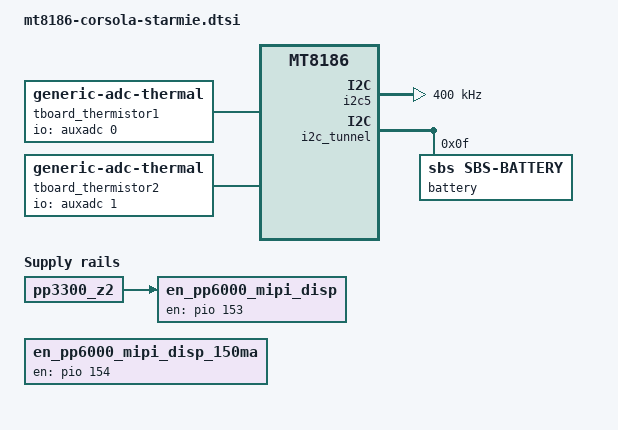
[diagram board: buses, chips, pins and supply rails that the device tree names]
// SPDX-License-Identifier: (GPL-2.0 OR MIT)
/*
 * Copyright 2023 Google LLC
 */

/dts-v1/;
#include "mt8186-corsola.dtsi"

/ {
	en_pp6000_mipi_disp_150ma: en-pp6000-mipi-disp-150ma {
		compatible = "regulator-fixed";
		regulator-name = "en_pp6000_mipi_disp_150ma";
		gpio = <&pio 154 GPIO_ACTIVE_HIGH>;
		enable-active-high;
		pinctrl-names = "default";
		pinctrl-0 = <&en_pp6000_mipi_disp_150ma_fixed_pins>;
	};

	/*
	 * Starmie does not have 3.3V display regulator. It is replaced
	 * with 6V module for enabling panel, re-using eDP GPIOs.
	 */
	/delete-node/ pp3300_disp_x;
	en_pp6000_mipi_disp: en-regulator-pp6000-mipi-disp {
		compatible = "regulator-fixed";
		pinctrl-names = "default";
		pinctrl-0 = <&edp_panel_fixed_pins>;
		gpios = <&pio 153 GPIO_ACTIVE_HIGH>;
		regulator-name = "en_pp6000_mipi_disp";
		enable-active-high;
		regulator-enable-ramp-delay = <3000>;
		vin-supply = <&pp3300_z2>;
	};

	tboard_thermistor1: thermal-sensor1 {
		compatible = "generic-adc-thermal";
		#thermal-sensor-cells = <0>;
		io-channels = <&auxadc 0>;
		io-channel-names = "sensor-channel";
		temperature-lookup-table = <    (-5000) 1492
						0 1413
						5000 1324
						10000 1227
						15000 1121
						20000 1017
						25000 900
						30000 797
						35000 698
						40000 606
						45000 522
						50000 449
						55000 383
						60000 327
						65000 278
						70000 236
						75000 201
						80000 171
						85000 145
						90000 163
						95000 124
						100000 91
						105000 78
						110000 67
						115000 58
						120000 50
						125000 44>;
	};

	tboard_thermistor2: thermal-sensor2 {
		compatible = "generic-adc-thermal";
		#thermal-sensor-cells = <0>;
		io-channels = <&auxadc 1>;
		io-channel-names = "sensor-channel";
		temperature-lookup-table = <    (-5000) 1492
						0 1413
						5000 1324
						10000 1227
						15000 1121
						20000 1017
						25000 900
						30000 797
						35000 698
						40000 606
						45000 522
						50000 449
						55000 383
						60000 327
						65000 278
						70000 236
						75000 201
						80000 171
						85000 145
						90000 163
						95000 124
						100000 91
						105000 78
						110000 67
						115000 58
						120000 50
						125000 44>;
	};
};

/*
 * Starmie does not have EC keyboard. Remove default keyboard controller
 * and replace it with the driver for side switches.
 */
/delete-node/ &keyboard_controller;

&cros_ec {
	cbas: cbas {
		compatible = "google,cros-cbas";
	};

	keyboard-controller {
		compatible = "google,cros-ec-keyb-switches";
	};
};

&dsi0 {
	#address-cells = <1>;
	#size-cells = <0>;
	panel: panel@0 {
		/* compatible will be set in board dts */
		reg = <0>;
		enable-gpios = <&pio 98 0>;
		pinctrl-names = "default";
		pinctrl-0 = <&panel_default_pins>;
		avdd-supply = <&en_pp6000_mipi_disp>;
		avee-supply = <&en_pp6000_mipi_disp_150ma>;
		pp1800-supply = <&mt6366_vio18_reg>;
		backlight = <&backlight_lcd0>;
		rotation = <270>;
		port {
			panel_in: endpoint {
				remote-endpoint = <&dsi_out>;
			};
		};
	};
};

&dsi_out {
	remote-endpoint = <&panel_in>;
};

&i2c0 {
	status = "disabled";
};

&i2c2 {
	status = "disabled";
};

&i2c4 {
	status = "disabled";
};

&i2c5 {
	clock-frequency = <400000>;
};

&mmc1_pins_default {
	pins-clk {
		drive-strength = <8>;
	};

	pins-cmd-dat {
		drive-strength = <8>;
	};
};

&mmc1_pins_uhs {
	pins-clk {
		drive-strength = <8>;
	};

	pins-cmd-dat {
		drive-strength = <8>;
	};
};

&pen_insert {
	wakeup-event-action = <EV_ACT_ANY>;
};

&pio {
	/* 185 lines */
	gpio-line-names = "TP",
			  "TP",
			  "TP",
			  "I2S0_HP_DI",
			  "I2S3_DP_SPKR_DO",
			  "SAR_INT_ODL",
			  "BT_WAKE_AP_ODL",
			  "WIFI_INT_ODL",
			  "DPBRDG_INT_ODL",
			  "NC",
			  "EC_AP_HPD_OD",
			  "NC",
			  "TCHSCR_INT_1V8_ODL",
			  "EC_AP_INT_ODL",
			  "EC_IN_RW_ODL",
			  "GSC_AP_INT_ODL",
			  /*
			   * AP_FLASH_WP_L is crossystem ABI. Rev1 schematics
			   * call it AP_WP_ODL.
			   */
			  "AP_FLASH_WP_L",
			  "HP_INT_ODL",
			  "PEN_EJECT_OD",
			  "NC",
			  "NC",
			  "UCAM_SEN_EN",
			  "NC",
			  "NC",
			  "NC",
			  "I2S2_DP_SPK_MCK",
			  "I2S2_DP_SPKR_BCK",
			  "I2S2_DP_SPKR_LRCK",
			  "NC",
			  "NC",
			  "NC",
			  "NC",
			  "UART_GSC_TX_AP_RX",
			  "UART_AP_TX_GSC_RX",
			  "UART_DBGCON_TX_ADSP_RX",
			  "UART_ADSP_TX_DBGCON_RX",
			  "NC",
			  "TCHSCR_REPORT_DISABLE",
			  "NC",
			  "EN_PP1800_DPBRDG",
			  "SPI_AP_CLK_EC",
			  "SPI_AP_CS_EC_L",
			  "SPI_AP_DO_EC_DI",
			  "SPI_AP_DI_EC_DO",
			  "SPI_AP_CLK_GSC",
			  "SPI_AP_CS_GSC_L",
			  "SPI_AP_DO_GSC_DI",
			  "SPI_AP_DI_GSC_DO",
			  "UART_DBGCON_TX_SCP_RX",
			  "UART_SCP_TX_DBGCON_RX",
			  "EN_PP1200_CAM_X",
			  "WLAN_MODULE_RST_L",
			  "NC",
			  "NC",
			  "NC",
			  "NC",
			  "I2S1_HP_DO",
			  "I2S1_HP_BCK",
			  "I2S1_HP_LRCK",
			  "I2S1_HP_MCK",
			  "TCHSCR_RST_1V8_L",
			  "SPI_AP_CLK_ROM",
			  "SPI_AP_CS_ROM_L",
			  "SPI_AP_DO_ROM_DI",
			  "SPI_AP_DI_ROM_DO",
			  "NC",
			  "NC",
			  "EMMC_STRB",
			  "EMMC_CLK",
			  "EMMC_CMD",
			  "EMMC_RST_L",
			  "EMMC_DATA0",
			  "EMMC_DATA1",
			  "EMMC_DATA2",
			  "EMMC_DATA3",
			  "EMMC_DATA4",
			  "EMMC_DATA5",
			  "EMMC_DATA6",
			  "EMMC_DATA7",
			  "AP_KPCOL0",
			  "NC",
			  "NC",
			  "NC",
			  "TP",
			  "SDIO_CLK",
			  "SDIO_CMD",
			  "SDIO_DATA0",
			  "SDIO_DATA1",
			  "SDIO_DATA2",
			  "SDIO_DATA3",
			  "NC",
			  "NC",
			  "NC",
			  "NC",
			  "NC",
			  "NC",
			  "NC",
			  "MIPI_BL_PWM_1V8",
			  "DISP_RST_1V8_L",
			  "MIPI_DPI_CLK",
			  "MIPI_DPI_VSYNC",
			  "MIPI_DPI_HSYNC",
			  "MIPI_DPI_DE",
			  "MIPI_DPI_D0",
			  "MIPI_DPI_D1",
			  "MIPI_DPI_D2",
			  "MIPI_DPI_D3",
			  "MIPI_DPI_D4",
			  "MIPI_DPI_D5",
			  "MIPI_DPI_D6",
			  "MIPI_DPI_DA7",
			  "MIPI_DPI_D8",
			  "MIPI_DPI_D9",
			  "MIPI_DPI_D10",
			  "MIPI_DPI_D11",
			  "PCM_BT_CLK",
			  "PCM_BT_SYNC",
			  "PCM_BT_DI",
			  "PCM_BT_DO",
			  "JTAG_TMS_TP",
			  "JTAG_TCK_TP",
			  "JTAG_TDI_TP",
			  "JTAG_TDO_TP",
			  "JTAG_TRSTN_TP",
			  "NC",
			  "NC",
			  "UCAM_DET_ODL",
			  "NC",
			  "NC",
			  "AP_I2C_TCHSCR_SCL_1V8",
			  "AP_I2C_TCHSCR_SDA_1V8",
			  "NC",
			  "NC",
			  "AP_I2C_DPBRDG_SCL_1V8",
			  "AP_I2C_DPBRDG_SDA_1V8",
			  "NC",
			  "NC",
			  "AP_I2C_AUD_SCL_1V8",
			  "AP_I2C_AUD_SDA_1V8",
			  "AP_I2C_DISP_SCL_1V8",
			  "AP_I2C_DISP_SDA_1V8",
			  "NC",
			  "NC",
			  "NC",
			  "NC",
			  "SCP_I2C_SENSOR_SCL_1V8",
			  "SCP_I2C_SENSOR_SDA_1V8",
			  "AP_EC_WARM_RST_REQ",
			  "AP_XHCI_INIT_DONE",
			  "USB3_HUB_RST_L",
			  "EN_SPKR",
			  "BEEP_ON",
			  "AP_DISP_BKLTEN",
			  "EN_PP6000_MIPI_DISP",
			  "EN_PP6000_MIPI_DISP_150MA",
			  "BT_KILL_1V8_L",
			  "WIFI_KILL_1V8_L",
			  "PWRAP_SPI0_CSN",
			  "PWRAP_SPI0_CK",
			  "PWRAP_SPI0_MO",
			  "PWRAP_SPI0_MI",
			  "SRCLKENA0",
			  "SRCLKENA1",
			  "SCP_VREQ_VAO",
			  "AP_RTC_CLK32K",
			  "AP_PMIC_WDTRST_L",
			  "AUD_CLK_MOSI",
			  "AUD_SYNC_MOSI",
			  "AUD_DAT_MOSI0",
			  "AUD_DAT_MOSI1",
			  "AUD_CLK_MISO",
			  "AUD_SYNC_MISO",
			  "AUD_DAT_MISO0",
			  "AUD_DAT_MISO1",
			  "NC",
			  "NC",
			  "NC",
			  "DPBRDG_RST_L",
			  "LTE_W_DISABLE_L",
			  "LTE_SAR_DETECT_L",
			  "EN_PP3300_LTE_X",
			  "LTE_PWR_OFF_L",
			  "LTE_RESET_L",
			  "TP",
			  "TP";

	en_pp6000_mipi_disp_150ma_fixed_pins: en_pp6000-mipi-disp-150ma-fixed-pins {
		pins-en {
			pinmux = <PINMUX_GPIO154__FUNC_GPIO154>;
			output-low;
		};
	};

	panel_default_pins: panel-default-pins {
		pins-en {
			pinmux = <PINMUX_GPIO98__FUNC_GPIO98>;
			output-low;
		};
	};
};

&usb_c1 {
	status = "disabled";
};

&thermal_zones {
	tboard1-thermal {
		polling-delay = <1000>; /* milliseconds */
		polling-delay-passive = <0>; /* milliseconds */
		thermal-sensors = <&tboard_thermistor1>;
	};

	tboard2-thermal {
		polling-delay = <1000>; /* milliseconds */
		polling-delay-passive = <0>; /* milliseconds */
		thermal-sensors = <&tboard_thermistor2>;
	};
};

&wifi_pwrseq {
	reset-gpios = <&pio 51 1>;
};

/*
 * Battery on Starmie is using a different address than default.
 * Remove old node to reuse "battery" alias.
 */
/delete-node/ &battery;
&i2c_tunnel {
	battery: sbs-battery@f {
		compatible = "sbs,sbs-battery";
		reg = <0xf>;
		sbs,i2c-retry-count = <2>;
		sbs,poll-retry-count = <1>;
	};
};
